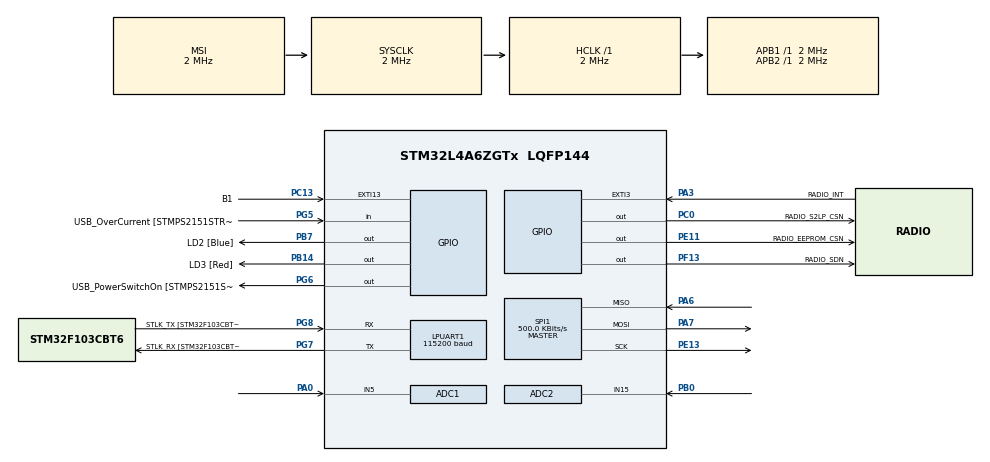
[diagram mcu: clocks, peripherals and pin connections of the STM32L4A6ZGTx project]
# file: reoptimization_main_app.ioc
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ADC1.Channel-0\#ChannelRegularConversion=ADC_CHANNEL_5
ADC1.ClockPrescaler=ADC_CLOCK_ASYNC_DIV2
ADC1.DMAContinuousRequests=ENABLE
ADC1.ExternalTrigConv=ADC_EXTERNALTRIG_T3_TRGO
ADC1.NbrOfConversionFlag=1
ADC1.OffsetNumber-0\#ChannelRegularConversion=ADC_OFFSET_NONE
ADC1.Rank-0\#ChannelRegularConversion=1
ADC1.SamplingTime-0\#ChannelRegularConversion=ADC_SAMPLETIME_2CYCLES_5
ADC1.master=1
ADC2.Channel-0\#ChannelRegularConversion=ADC_CHANNEL_15
ADC2.ClockPrescaler=ADC_CLOCK_ASYNC_DIV2
ADC2.LowPowerAutoWait=ENABLE
ADC2.NbrOfConversionFlag=1
ADC2.OffsetNumber-0\#ChannelRegularConversion=ADC_OFFSET_NONE
ADC2.Rank-0\#ChannelRegularConversion=1
ADC2.Resolution=ADC_RESOLUTION_6B
ADC2.SamplingTime-0\#ChannelRegularConversion=ADC_SAMPLETIME_2CYCLES_5
AES.Data\ encryption\ types\ list=AESCBC
AES.DataType=CRYP_DATATYPE_8B
AES.KeyWriteFlag=CRYP_KEY_WRITE_ENABLE
AES.OperatingMode=CRYP_ALGOMODE_ENCRYPT
AES.pKey=00 00 00 00 00 00 00 00 00 00 00 00 00 00 00 00
Dma.ADC1.0.Direction=DMA_PERIPH_TO_MEMORY
Dma.ADC1.0.Instance=DMA1_Channel1
Dma.ADC1.0.MemDataAlignment=DMA_MDATAALIGN_HALFWORD
Dma.ADC1.0.MemInc=DMA_MINC_ENABLE
Dma.ADC1.0.Mode=DMA_CIRCULAR
Dma.ADC1.0.PeriphDataAlignment=DMA_PDATAALIGN_HALFWORD
Dma.ADC1.0.PeriphInc=DMA_PINC_DISABLE
Dma.ADC1.0.Priority=DMA_PRIORITY_LOW
Dma.Request0=ADC1
LPUART1.AutoBaudRateEnableParam=UART_ADVFEATURE_AUTOBAUDRATE_DISABLE
LPUART1.BaudRate=115200
LPUART1.DMADisableonRxErrorParam=UART_ADVFEATURE_DMA_ENABLEONRXERROR
LPUART1.DataInvertParam=UART_ADVFEATURE_DATAINV_DISABLE
LPUART1.MSBFirstParam=UART_ADVFEATURE_MSBFIRST_DISABLE
LPUART1.Mode=UART_MODE_TX_RX
LPUART1.OneBitSampling=UART_ONE_BIT_SAMPLE_DISABLE
LPUART1.OverrunDisableParam=UART_ADVFEATURE_OVERRUN_ENABLE
LPUART1.Parity=UART_PARITY_NONE
LPUART1.RxPinLevelInvertParam=UART_ADVFEATURE_RXINV_DISABLE
LPUART1.StopBits=UART_STOPBITS_1
LPUART1.SwapParam=UART_ADVFEATURE_SWAP_DISABLE
LPUART1.TxPinLevelInvertParam=UART_ADVFEATURE_TXINV_DISABLE
LPUART1.WordLength=UART_WORDLENGTH_8B
Mcu.Family=STM32L4
Mcu.Name=STM32L4A6ZGTx
Mcu.Package=LQFP144
NVIC.DMA1_Channel1_IRQn=true\:1\:0\:true\:false\:true\:false\:true\:true
NVIC.EXTI15_10_IRQn=true\:0\:0\:false\:false\:true\:true\:true\:true
NVIC.EXTI3_IRQn=true\:0\:0\:false\:false\:true\:true\:true\:true
NVIC.PriorityGroup=NVIC_PRIORITYGROUP_4
NVIC.TIM3_IRQn=true\:0\:0\:true\:false\:true\:true\:true\:true
PA0.Signal=ADCx_IN5
PA10.GPIO_Label=USB_ID
PA10.Signal=USB_OTG_FS_ID
PA11.GPIO_Label=USB_DM
PA11.Signal=USB_OTG_FS_DM
PA12.GPIO_Label=USB_DP
PA12.Signal=USB_OTG_FS_DP
PA13\ (JTMS/SWDIO).GPIO_Label=TMS
PA13\ (JTMS/SWDIO).Signal=SYS_JTMS-SWDIO
PA14\ (JTCK/SWCLK).GPIO_Label=TCK
PA14\ (JTCK/SWCLK).Signal=SYS_JTCK-SWCLK
PA3.GPIO_Label=RADIO_INT
PA3.GPIO_ModeDefaultEXTI=GPIO_MODE_IT_FALLING
PA3.Signal=GPXTI3
PA6.Mode=Full_Duplex_Master
PA6.Signal=SPI1_MISO
PA7.Mode=Full_Duplex_Master
PA7.Signal=SPI1_MOSI
PA8.GPIO_Label=USB_SOF [TP1]
PA8.Signal=USB_OTG_FS_SOF
PA9.GPIO_Label=USB_VBUS
PA9.Signal=USB_OTG_FS_VBUS
PB0.Signal=ADCx_IN15
PB14.GPIO_Label=LD3 [Red]
PB14.Signal=GPIO_Output
PB3\ (JTDO/TRACESWO).GPIO_Label=SWO
PB3\ (JTDO/TRACESWO).Signal=SYS_JTDO-SWO
PB7.GPIO_Label=LD2 [Blue]
PB7.Signal=GPIO_Output
PC0.GPIO_Label=RADIO_S2LP_CSN
PC0.GPIO_Speed=GPIO_SPEED_FREQ_VERY_HIGH
PC0.PinState=GPIO_PIN_SET
PC0.Signal=GPIO_Output
PC13.GPIO_Label=B1
PC13.GPIO_ModeDefaultEXTI=GPIO_MODE_IT_RISING
PC13.Signal=GPXTI13
PC14-OSC32_IN\ (PC14).Mode=LSE-External-Oscillator
PC14-OSC32_IN\ (PC14).Signal=RCC_OSC32_IN
PC15-OSC32_OUT\ (PC15).Mode=LSE-External-Oscillator
PC15-OSC32_OUT\ (PC15).Signal=RCC_OSC32_OUT
PE11.GPIO_Label=RADIO_EEPROM_CSN
PE11.PinState=GPIO_PIN_SET
PE11.Signal=GPIO_Output
PE13.Mode=Full_Duplex_Master
PE13.Signal=SPI1_SCK
PF13.GPIO_Label=RADIO_SDN
PF13.PinState=GPIO_PIN_SET
PF13.Signal=GPIO_Output
PG5.GPIO_Label=USB_OverCurrent [STMPS2151STR_FAULT]
PG5.Signal=GPIO_Input
PG6.GPIO_Label=USB_PowerSwitchOn [STMPS2151STR_EN]
PG6.Signal=GPIO_Output
PG7.GPIO_Label=STLK_RX [STM32F103CBT6_PA3]
PG7.Mode=Asynchronous
PG7.Signal=LPUART1_TX
PG8.GPIO_Label=STLK_TX [STM32F103CBT6_PA2]
PG8.Mode=Asynchronous
PG8.Signal=LPUART1_RX
PH1-OSC_OUT\ (PH1).Signal=RCC_OSC_OUT
ProjectManager.HeapSize=0x200
ProjectManager.StackSize=0x400
ProjectManager.TargetToolchain=STM32CubeIDE
RCC.ADCCLockSelection=RCC_ADCCLKSOURCE_SYSCLK
RCC.ADCFreq_Value=2000000
RCC.AHBFreq_Value=2000000
RCC.APB1Freq_Value=2000000
RCC.APB1TimFreq_Value=2000000
RCC.APB2Freq_Value=2000000
RCC.APB2TimFreq_Value=2000000
RCC.CortexFreq_Value=2000000
RCC.FLatency=FLASH_LATENCY_0
RCC.HCLKFreq_Value=2000000
RCC.HSE_VALUE=8000000
RCC.HSI48_VALUE=48000000
RCC.HSI_VALUE=16000000
RCC.LPUART1CLockSelection=RCC_LPUART1CLKSOURCE_SYSCLK
RCC.MSIClockRange=RCC_MSIRANGE_5
RCC.MSI_VALUE=2000000
RCC.PLLN=24
RCC.PLLSAI1N=24
RCC.SYSCLKFreq_VALUE=2000000
RCC.USBFreq_Value=24000000
RCC.VCOOutputFreq_Value=48000000
RCC.VDD_VALUE=1.8
SH.ADCx_IN15.0=ADC2_IN15,IN15-Single-Ended
SH.ADCx_IN5.0=ADC1_IN5,IN5-Single-Ended
SPI1.BaudRatePrescaler=SPI_BAUDRATEPRESCALER_4
SPI1.CalculateBaudRate=500.0 KBits/s
SPI1.DataSize=SPI_DATASIZE_8BIT
SPI1.Direction=SPI_DIRECTION_2LINES
SPI1.Mode=SPI_MODE_MASTER
SPI1.VirtualType=VM_MASTER
TIM3.Period=8
TIM3.Prescaler=23
TIM3.TIM_MasterOutputTrigger=TIM_TRGO_UPDATE
VP_AES_VS_AES.Mode=AES_Activate
VP_SYS_VS_LPOM.Mode=PowerOptimisation
VP_TIM3_VS_ClockSourceINT.Mode=Internal
board=NUCLEO-L4A6ZG

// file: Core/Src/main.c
/* USER CODE BEGIN Header */
/**
  ******************************************************************************
  * @file           : main.c
  * @brief          : Main program body
  ******************************************************************************
  * @attention
  *
  * <h2><center>&copy; Copyright (c) 2021 STMicroelectronics.
  * All rights reserved.</center></h2>
  *
  * This software component is licensed by ST under BSD 3-Clause license,
  * the "License"; You may not use this file except in compliance with the
  * License. You may obtain a copy of the License at:
  *                        opensource.org/licenses/BSD-3-Clause
  *
  ******************************************************************************
  */
/* USER CODE END Header */
#include "main.h"
#include "adc.h"
#include "aes.h"
#include "dma.h"
#include "spi.h"
#include "tim.h"
#include "gpio.h"

/* USER CODE BEGIN Includes */
#include <stdio.h>
#include <string.h>
#include "arm_math.h"
#include "adc_dblbuf.h"
#include "retarget.h"
#include "s2lp.h"
#include "spectrogram.h"
#include "eval_radio.h"
#include "packet.h"
#include "config.h"
#include "utils.h"
#include "usart.h"

/* USER CODE END Includes */

/* USER CODE BEGIN PV */

volatile uint8_t btn_press;

/* USER CODE END PV */

void SystemClock_Config(void);

/* USER CODE BEGIN 0 */

void HAL_GPIO_EXTI_Callback(uint16_t GPIO_Pin)
{
	if (GPIO_Pin == B1_Pin) {
		btn_press = 1;
	}
	else if (GPIO_Pin == RADIO_INT_Pin)
		S2LP_IRQ_Handler();
}

uint32_t analogRead_LowPower(void)
{
    // Turn on ADC2
    HAL_ADC_Start(&hadc2);

    // Wait for it to be ready (if you have AutoOff enabled)
    HAL_ADC_PollForConversion(&hadc2, HAL_MAX_DELAY);

    uint32_t value = HAL_ADC_GetValue(&hadc2);

    // Turn off ADC2 (optional if AutoOff is enabled)
    HAL_ADC_Stop(&hadc2);

    return value;
}

uint8_t analogRead_CapaLvl(void)
{
  // Max value is 4.5V, min is 3.6V
  // ADC is 6 bit -> 0-63
  // Vdd can be 3.3V to 1.8V
  // The 4.5V max goes through a voltage divider to 1.72V (safe for 1.8V)
  // 4.5V -> 1.72V -> 60 ; 3.6V -> 1.35V -> 48

  uint8_t value = (uint8_t)analogRead_LowPower();

  // CAPAC_LVL_X are the percentage of the battery level
  // True value = value * 12 + 48
  // 0% = 48 ; 100% = 60

  DEBUG_PRINT("Battery Level: %d\r\n", value);
  DEBUG_PRINT("CAPAC_LVL_1: %d\r\n", ((uint8_t)( CAPA_LVL_1*12.0f) + 48));
  DEBUG_PRINT("CAPAC_LVL_2: %d\r\n", ((uint8_t)( CAPA_LVL_2*12.0f) + 48));

  // Give a level depending on the threshold reached
  if (value < ((uint8_t)(CAPA_LVL_1*12.0f) + 48)) {
    return 0; // Low
  } else if (value < ((uint8_t)(CAPA_LVL_2*12.0f) + 48)) {
    return 1; // Medium
  } else {
    return 2; // Full
  }
}

void run(void)
{
	btn_press = 0;

  // Initialize the S2LP to the sleep mode if configured
  #if NO_S2LP_SLEEP == 0
    int s2lp_Check = S2LP_Standby();
    if (s2lp_Check != HAL_OK) {
      DEBUG_PRINT("[S2LP] Error while putting the S2LP to sleep: %d\r\n", s2lp_Check);
      Error_Handler();
    }
  #endif

  //while (1) {
  //  HAL_Delay(100);
  //  DEBUG_PRINT_FAST("TEST\r\n", 6);
  //}

	while (1)
	{
    // If NO_BUTTON is set, we acquire and send the packet directly and continuously
    // Otherwise, we wait for the button press to acquire and send the packet
    #if USE_BUTTON == 0
      // Start the ADC acquisition
      if (StartADCAcq() != HAL_OK) {
        DEBUG_PRINT("Error while starting the ADC acquisition\r\n");
        Error_Handler();
      }
      // Continuous acquisition
      while (1) {
        ProcessADCData();
        HAL_PWR_EnterSLEEPMode(PWR_LOWPOWERREGULATOR_ON, PWR_SLEEPENTRY_WFI);
        __WFI();
      }
    #else
      // Wait for the button press
      while (!btn_press) {
        HAL_GPIO_WritePin(GPIOB, LD2_Pin, GPIO_PIN_SET);
        HAL_Delay(200);
        HAL_GPIO_WritePin(GPIOB, LD2_Pin, GPIO_PIN_RESET);
        HAL_Delay(200);
      }
      // Start the ADC acquisition
      if (StartADCAcq() != HAL_OK) {
        DEBUG_PRINT("Error while starting the ADC acquisition\r\n");
        Error_Handler();
      }
      btn_press = 0;
      // Continuous acquisition while the button is not pressed
      while (!btn_press) {
        ProcessADCData();
        HAL_PWR_EnterSLEEPMode(PWR_LOWPOWERREGULATOR_ON, PWR_SLEEPENTRY_WFI);
      }
      // Stop the acquisition
      StopADCAcq();
      // Reset the button press flag
      btn_press = 0;
    #endif
	}
}

/* USER CODE END 0 */

int main(void)
{

  /* MCU Configuration--------------------------------------------------------*/

  /* Reset of all peripherals, Initializes the Flash interface and the Systick. */
  HAL_Init();

  /* Configure the system clock */
  SystemClock_Config();

  /* Initialize all configured peripherals */
  MX_GPIO_Init();
  MX_DMA_Init();
  MX_SPI1_Init();
  MX_TIM3_Init();
  MX_ADC1_Init();
  MX_AES_Init();
  MX_ADC2_Init();
  /* USER CODE BEGIN 2 */

  if (NO_UART == 0) {
	  MX_LPUART1_UART_Init();
  }

  RetargetInit(&hlpuart1);
  DEBUG_PRINT("Hello world\r\n");

  // Enable S2LP Radio
  HAL_StatusTypeDef err = S2LP_Init(&hspi1);
  if (err)  {
	  DEBUG_PRINT("[S2LP] Error while initializing: %u\r\n", err);
	  Error_Handler();
  } else {
	  DEBUG_PRINT("[S2LP] Init OK\r\n");
  }

  if (HAL_ADCEx_Calibration_Start(&hadc1, ADC_SINGLE_ENDED) != HAL_OK) {
	  DEBUG_PRINT("Error while calibrating the ADC\r\n");
	  Error_Handler();
  }
  if (HAL_TIM_Base_Start(&htim3) != HAL_OK) {
	  DEBUG_PRINT("Error while enabling timer TIM3\r\n");
	  Error_Handler();
  }
  /* USER CODE END 2 */

  /* Infinite loop */
  /* USER CODE BEGIN WHILE */
    run();

    /* USER CODE END WHILE */

}

void SystemClock_Config(void)
{
  RCC_OscInitTypeDef RCC_OscInitStruct = {0};
  RCC_ClkInitTypeDef RCC_ClkInitStruct = {0};

  /** Configure the main internal regulator output voltage
  */
  if (HAL_PWREx_ControlVoltageScaling(PWR_REGULATOR_VOLTAGE_SCALE1) != HAL_OK)
  {
    Error_Handler();
  }

  /** Initializes the RCC Oscillators according to the specified parameters
  * in the RCC_OscInitTypeDef structure.
  */
  RCC_OscInitStruct.OscillatorType = RCC_OSCILLATORTYPE_MSI;
  RCC_OscInitStruct.MSIState = RCC_MSI_ON;
  RCC_OscInitStruct.MSICalibrationValue = 0;
  RCC_OscInitStruct.MSIClockRange = RCC_MSIRANGE_5;
  RCC_OscInitStruct.PLL.PLLState = RCC_PLL_NONE;
  if (HAL_RCC_OscConfig(&RCC_OscInitStruct) != HAL_OK)
  {
    Error_Handler();
  }

  /** Initializes the CPU, AHB and APB buses clocks
  */
  RCC_ClkInitStruct.ClockType = RCC_CLOCKTYPE_HCLK|RCC_CLOCKTYPE_SYSCLK
                              |RCC_CLOCKTYPE_PCLK1|RCC_CLOCKTYPE_PCLK2;
  RCC_ClkInitStruct.SYSCLKSource = RCC_SYSCLKSOURCE_MSI;
  RCC_ClkInitStruct.AHBCLKDivider = RCC_SYSCLK_DIV1;
  RCC_ClkInitStruct.APB1CLKDivider = RCC_HCLK_DIV1;
  RCC_ClkInitStruct.APB2CLKDivider = RCC_HCLK_DIV1;

  if (HAL_RCC_ClockConfig(&RCC_ClkInitStruct, FLASH_LATENCY_0) != HAL_OK)
  {
    Error_Handler();
  }
}

void Error_Handler(void)
{
  /* USER CODE BEGIN Error_Handler_Debug */
  __disable_irq();
  DEBUG_PRINT("Entering error Handler\r\n");
  while (1)
  {
	  // Blink LED3 (red)
	  HAL_GPIO_WritePin(GPIOB, LD3_Pin, GPIO_PIN_SET);
	  for (volatile int i=0; i < SystemCoreClock/200; i++);
	  HAL_GPIO_WritePin(GPIOB, LD3_Pin, GPIO_PIN_RESET);
	  for (volatile int i=0; i < SystemCoreClock/200; i++);
  }
  /* USER CODE END Error_Handler_Debug */
}

#ifdef  USE_FULL_ASSERT
/**
  * @brief  Reports the name of the source file and the source line number
  *         where the assert_param error has occurred.
  * @param  file: pointer to the source file name
  * @param  line: assert_param error line source number
  * @retval None
  */
void assert_failed(uint8_t *file, uint32_t line)
{
  /* USER CODE BEGIN 6 */
  /* User can add his own implementation to report the file name and line number,
     ex: DEBUG_PRINT("Wrong parameters value: file %s on line %d\r\n", file, line) */
  /* USER CODE END 6 */
}
#endif /* USE_FULL_ASSERT */
